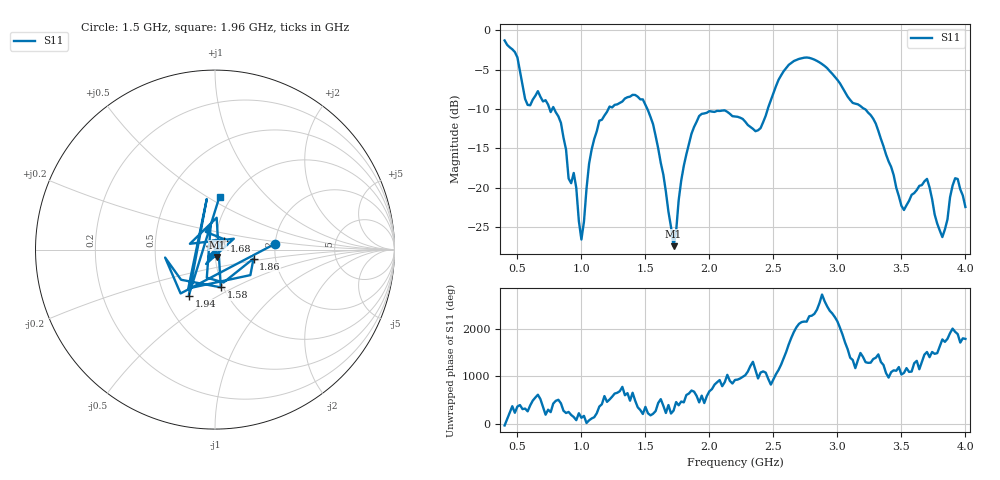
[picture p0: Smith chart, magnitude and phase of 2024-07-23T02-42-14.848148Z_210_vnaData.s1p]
!Created with skrf (http://scikit-rf.org).
# Hz S RI R 50.0
!freq ReS11 ImS11
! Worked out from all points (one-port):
!   181 points, 400 MHz to 4 GHz, reference 50 ohm
!   lowest |S11| = -27.5 dB at 1.72 GHz (marker M1), VSWR 1.09, Z = 51.1 - j4.15 ohm
!   |S11| at or under -10 dB: 787.7 MHz to 1.211 GHz (422.8 MHz wide, 42.3 % of centre); 1.515 GHz to 2.456 GHz (940.5 MHz wide, 47.4 % of centre); 3.213 GHz to end of sweep (the widest 3 of 4)
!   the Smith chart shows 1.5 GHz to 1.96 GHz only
!   S11 on the Smith chart (normalised r, x): 1.5 GHz: 2.00, +0.14; 1.58 GHz: 0.97, -0.43; 1.68 GHz: 1.10, +0.11; 1.86 GHz: 1.54, -0.16; 1.94 GHz: 0.66, -0.37; 1.96 GHz: 0.88, +0.57
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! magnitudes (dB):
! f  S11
! 400 MHz  -1.3
! 580 MHz  -9.5
! 660 MHz  -7.7
! 860 MHz  -13.6
! 900 MHz  -18.8
! 940 MHz  -18.1
! 1 GHz  -26.6
! 1.06 GHz  -17.0
! 1.14 GHz  -11.5
! 1.3 GHz  -9.2
! 1.5 GHz  -9.5
! 1.58 GHz  -13.4
! 1.68 GHz  -23.1
! 1.72 GHz  -27.5
! 1.76 GHz  -21.6
! 1.86 GHz  -13.1
! 1.94 GHz  -10.6
! 1.96 GHz  -10.6
! 2.2 GHz  -10.9
! 2.4 GHz  -12.4
! 2.66 GHz  -3.9
! 3.1 GHz  -8.8
! 3.28 GHz  -11.2
! 3.56 GHz  -21.7
! 3.7 GHz  -18.9
! 3.82 GHz  -26.3
! 3.92 GHz  -18.8
! 4 GHz  -22.5
